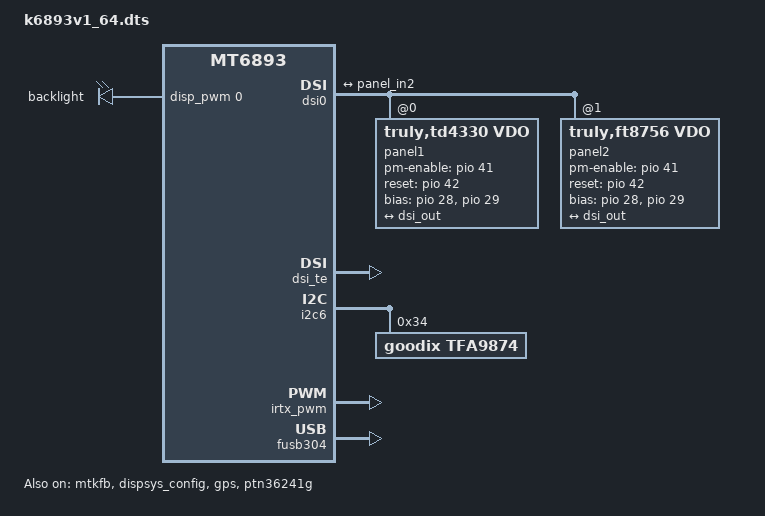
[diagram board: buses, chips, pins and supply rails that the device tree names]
// SPDX-License-Identifier: (GPL-2.0 OR MIT)
/*
 * Copyright (C) 2020 MediaTek Inc.
 * Author: Chun-Hung Wu <chun-hung.wu@mediatek.com>
 */
/dts-v1/;
/plugin/;
#include <dt-bindings/interrupt-controller/arm-gic.h>
#include <dt-bindings/interrupt-controller/irq.h>
#include <dt-bindings/pinctrl/mt6885-pinfunc.h>
#include <dt-bindings/clock/mt6893-clk.h>

&mtk_leds {
	compatible = "mediatek,pwm-leds";
	backlight {
		led_mode = <5>;
		pwms = <&disp_pwm 0 39385>;
		pwm-names = "lcd-backlight";
		pwm-config = <0 3 0 0 0>;
	};
};

#include "mediatek/cust_mt6893_touch_1080x2300.dtsi"

&chosen {
	atag,videolfb-fb_base_l = <0x7e605000>;
	atag,videolfb-fb_base_h = <0x0>;
	atag,videolfb-islcmfound = <1>;
	atag,videolfb-islcm_inited = <0>;
	atag,videolfb-fps= <6000>;
	atag,videolfb-vramSize= <0x1be0000>;
	atag,videolfb-lcmname=
		"td4330_fhdp_dsi_vdo_auo_rt5081_drv";
};

&subpmic_mtk {
	mt6360,intr_gpio_num = <24>; /* direct defined GPIO num */
	mt6360,intr_gpio = <&pio 24 0x0>;
};

&mt6360_pmic {
	pwr_off_seq = [04 00 00 02];
};

&mt6360_typec {
	mt6360pd,intr_gpio_num = <25>; /* direct defined GPIO num */
	mt6360pd,intr_gpio = <&pio 25 0x0>;
};

&pio {
	mtkfb_pins_lcd_bias_enp1: lcd_bias_enp1_gpio {
		pins_cmd_dat {
			pinmux = <PINMUX_GPIO28__FUNC_GPIO28>;
			slew-rate = <1>;
			output-high;
		};
	};

	mtkfb_pins_lcd_bias_enp0: lcd_bias_enp0_gpio {
		pins_cmd_dat {
			pinmux = <PINMUX_GPIO28__FUNC_GPIO28>;
			slew-rate = <1>;
			output-low;
		};
	};

	mtkfb_pins_lcd_bias_enn1: lcd_bias_enn1_gpio {
		pins_cmd_dat {
			pinmux = <PINMUX_GPIO29__FUNC_GPIO29>;
			slew-rate = <1>;
			output-high;
		};
	};

	mtkfb_pins_lcd_bias_enn0: lcd_bias_enn0_gpio {
		pins_cmd_dat {
			pinmux = <PINMUX_GPIO29__FUNC_GPIO29>;
			slew-rate = <1>;
			output-low;
		};
	};

	mtkfb_pins_lcm_rst_out1_gpio: lcm_rst_out1_gpio {
		pins_cmd_dat {
			pinmux = <PINMUX_GPIO42__FUNC_GPIO42>;
			slew-rate = <1>;
			output-high;
		};
	};

	mtkfb_pins_lcm_rst_out0_gpio: lcm_rst_out0_gpio {
		pins_cmd_dat {
			pinmux = <PINMUX_GPIO42__FUNC_GPIO42>;
			slew-rate = <1>;
			output-low;
		};
	};
	mtkfb_pins_lcm_dsi_te: lcm_dsi_te {
		pins_cmd_dat {
			pinmux = <PINMUX_GPIO41__FUNC_DSI_TE>;
		};
	};
};

&mtkfb {
	pinctrl-names = "lcd_bias_enp1_gpio", "lcd_bias_enp0_gpio",
			"lcd_bias_enn1_gpio", "lcd_bias_enn0_gpio",
			"lcm_rst_out1_gpio", "lcm_rst_out0_gpio",
			"mode_te_te";
	pinctrl-0 = <&mtkfb_pins_lcd_bias_enp1>;
	pinctrl-1 = <&mtkfb_pins_lcd_bias_enp0>;
	pinctrl-2 = <&mtkfb_pins_lcd_bias_enn1>;
	pinctrl-3 = <&mtkfb_pins_lcd_bias_enn0>;
	pinctrl-4 = <&mtkfb_pins_lcm_rst_out1_gpio>;
	pinctrl-5 = <&mtkfb_pins_lcm_rst_out0_gpio>;
	pinctrl-6 = <&mtkfb_pins_lcm_dsi_te>;
	status = "okay";
};

&dispsys_config {
	pinctrl-names =
			"lcm_rst_out1_gpio", "lcm_rst_out0_gpio",
			"mode_te_te";
	pinctrl-0 = <&mtkfb_pins_lcm_rst_out1_gpio>;
	pinctrl-1 = <&mtkfb_pins_lcm_rst_out0_gpio>;
	pinctrl-2 = <&mtkfb_pins_lcm_dsi_te>;
	status = "okay";
};

&dsi0 {
	status = "okay";
	#address-cells = <1>;
	#size-cells = <0>;
	panel1@0 {
		compatible = "truly,td4330,vdo";
		reg = <0>;
		pm-enable-gpios = <&pio 41 0>;
		reset-gpios = <&pio 42 0>;
		bias-gpios = <&pio 28 0>,
			<&pio 29 0>;
		pinctrl-names = "default";
		port {
			panel_in1: endpoint {
				remote-endpoint = <&dsi_out>;
			};
		};
	};
	panel2@0 {
		compatible = "truly,ft8756,vdo";
		reg = <1>;
		pm-enable-gpios = <&pio 41 0>;
		reset-gpios = <&pio 42 0>;
		bias-gpios = <&pio 28 0>,
			<&pio 29 0>;
		pinctrl-names = "default";
		port {
			panel_in2: endpoint {
				remote-endpoint = <&dsi_out>;
			};
		};
	};
	ports {
		port {
			dsi_out: endpoint {
				remote-endpoint = <&panel_in2>;
			};
		};
	};
};

&dsi_te {
	interrupt-parent = <&pio>;
	interrupts = <41 1 41 1>;
	status = "okay";
};

&i2c6 {
	tfa9874: tfa9874@34 {
		compatible = "goodix,tfa9874";
		#sound-dai-cells = <0>;
		reg = <0x34>;
		status = "okay";
	};
};

&sound {
	mediatek,speaker-codec {
		sound-dai = <&tfa9874>;
	};
};

/* IRTX GPIO Start */
&irtx_pwm {
	pinctrl-names = "irtx_gpio_led_default", "irtx_gpio_led_set";
	pinctrl-0 = <&irtx_gpio_led_default>;
	pinctrl-1 = <&irtx_gpio_led_set>;
	status = "okay";
};
&pio {
	/* IRTX GPIO Settings -Start */
	/* default: GPIO0, output, high */
	irtx_gpio_led_default:irtx_gpio_led_def@gpio127 {
		pins_cmd_dat {
			pinmux = <PINMUX_GPIO127__FUNC_GPIO127>;
			slew-rate = <1>;
			bias-disable;
			output-low;
			input-schmitt-enable = <0>;
		};
	};

	irtx_gpio_led_set:irtx_gpio_led_set@gpio127 {
		pins_cmd_dat {
			pinmux = <PINMUX_GPIO127__FUNC_PWM_3>;
			slew-rate = <1>;
			output-high;
		};
	};
}; /* IRTX GPIO Settings -End */

#include "mediatek/cust_mt6893_camera.dtsi"
/*End of this file, DO NOT ADD ANYTHING HERE*/

/* GPS GPIO standardization start */
&pio {
	gps_pins_default: gps_default {
	};
	gps_l1_lna_pins_ol: gps_l1_lna@0 {
		pins_cmd_dat {
			pinmux = <PINMUX_GPIO162__FUNC_GPIO162>;
			output-low;
		};
	};
	gps_l1_lna_pins_dsp_ctrl: gps_l1_lna@1 {
		pins_cmd_dat {
			pinmux = <PINMUX_GPIO162__FUNC_GPS_L1_ELNA_EN>;
		};
	};
	gps_l1_lna_pins_oh: gps_l1_lna@2 {
		pins_cmd_dat {
			pinmux = <PINMUX_GPIO162__FUNC_GPIO162>;
			output-high;
		};
	};
	gps_l5_lna_pins_ol: gps_l5_lna@0 {
		pins_cmd_dat {
			pinmux = <PINMUX_GPIO163__FUNC_GPIO163>;
			output-low;
		};
	};
	gps_l5_lna_pins_dsp_ctrl: gps_l5_lna@1 {
		pins_cmd_dat {
			pinmux = <PINMUX_GPIO163__FUNC_GPS_L5_ELNA_EN>;
		};
	};
	gps_l5_lna_pins_oh: gps_l5_lna@2 {
		pins_cmd_dat {
			pinmux = <PINMUX_GPIO163__FUNC_GPIO163>;
			output-high;
		};
	};
};
&gps {
	pinctrl-names = "default",
		"gps_l1_lna_disable",
		"gps_l1_lna_dsp_ctrl",
		"gps_l1_lna_enable",
		"gps_l5_lna_disable",
		"gps_l5_lna_dsp_ctrl",
		"gps_l5_lna_enable";
	pinctrl-0 = <&gps_pins_default>;
	pinctrl-1 = <&gps_l1_lna_pins_ol>;
	pinctrl-2 = <&gps_l1_lna_pins_dsp_ctrl>;
	pinctrl-3 = <&gps_l1_lna_pins_oh>;
	pinctrl-4 = <&gps_l5_lna_pins_ol>;
	pinctrl-5 = <&gps_l5_lna_pins_dsp_ctrl>;
	pinctrl-6 = <&gps_l5_lna_pins_oh>;
	status = "okay";
};
/* GPS GPIO standardization end */

&pdc {
	pd_vbus_upper_bound = <12000000>;
};

/* usb typec mux */
&pio {
	c1_active: c1_high {
		pins_cmd_dat {
			pinmux = <PINMUX_GPIO113__FUNC_GPIO113>;
			output-high;
		};
	};

	c2_active: c2_highz {
		pins_cmd_dat {
			pinmux = <PINMUX_GPIO112__FUNC_GPIO112>;
			input-enable;
			bias-disable;
		};
	};

	c1_sleep: c1_low {
		pins_cmd_dat {
			pinmux = <PINMUX_GPIO113__FUNC_GPIO113>;
			output-low;
		};
	};

	c2_sleep: c2_low {
		pins_cmd_dat {
			pinmux = <PINMUX_GPIO112__FUNC_GPIO112>;
			output-low;
		};
	};

	sel_up: sel_high {
		pins_cmd_dat {
			pinmux = <PINMUX_GPIO111__FUNC_GPIO111>;
			output-high;
		};
	};

	sel_down: sel_low {
		pins_cmd_dat {
			pinmux = <PINMUX_GPIO111__FUNC_GPIO111>;
			output-low;
		};
	};

	sw_enable: sw_enable {
		pins_cmd_dat {
			pinmux = <PINMUX_GPIO110__FUNC_GPIO110>;
			output-low;
		};
	};

	sw_disable: sw_disable {
		pins_cmd_dat {
			pinmux = <PINMUX_GPIO110__FUNC_GPIO110>;
			output-low;
		};
	};
};

&ptn36241g {
	pinctrl-names = "c1_active", "c1_sleep",
		"c2_active", "c2_sleep";
	pinctrl-0 = <&c1_active>;
	pinctrl-1 = <&c1_sleep>;
	pinctrl-2 = <&c2_active>;
	pinctrl-3 = <&c2_sleep>;
	status = "okay";
};

&fusb304 {
	pinctrl-names = "sel_up", "sel_down",
		"enable", "disable";
	pinctrl-0 = <&sel_up>;
	pinctrl-1 = <&sel_down>;
	pinctrl-2 = <&sw_enable>;
	pinctrl-3 = <&sw_disable>;
	status = "okay";
};
/* CONSYS end */
#include <k6893v1_64/cust.dtsi>

